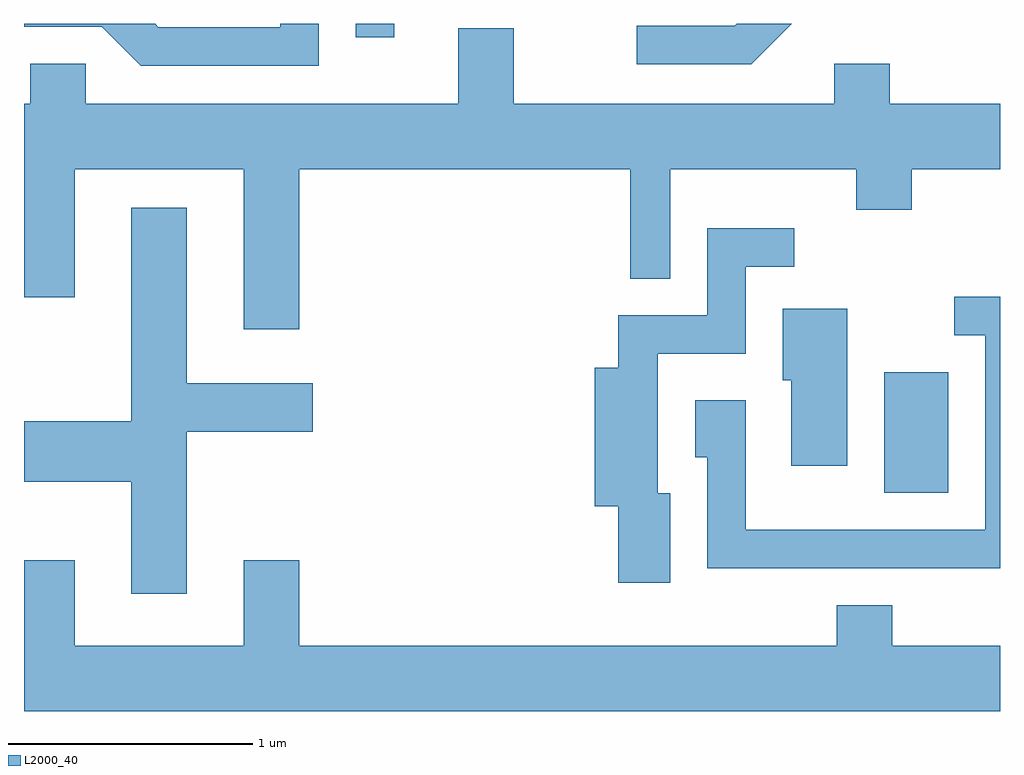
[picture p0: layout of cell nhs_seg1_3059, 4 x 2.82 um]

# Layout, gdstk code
import gdstk
lib = gdstk.Library(unit=1e-6, precision=1e-09)
def R(c, l, rs):  # rectangles x0, y0, x1, y1
    for r in rs: c.add(gdstk.rectangle(r[:2], r[2:], *l))
def P(c, l, *ps):  # polygons
    for p in ps: c.add(gdstk.Polygon(p, *l))
L2000_40 = (2000, 40)

nhs_seg1_3059 = lib.new_cell('nhs_seg1_3059')
R(nhs_seg1_3059, L2000_40, [(281.136,913.791,281.399,914.284), (278.971,915.658,279.129,915.712)])
P(nhs_seg1_3059, L2000_40, [(278.819,915.712),(278.661,915.712),(278.661,915.699),(278.162,915.699),(278.149,915.712),(277.611,915.712),(277.611,915.701),(277.929,915.701),(278.089,915.541),(278.819,915.541)],
  [(280.757,915.712),(280.532,915.712),(280.524,915.704),(280.123,915.704),(280.123,915.546),(280.592,915.546)],
  [(278.739,915.116),(280.096,915.116),(280.096,914.668),(280.259,914.668),(280.259,915.116),(281.021,915.116),(281.021,914.951),(281.249,914.951),(281.249,915.116),(281.611,915.116),(281.611,915.384),(281.159,915.384),(281.159,915.549),(280.931,915.549),(280.931,915.384),(279.619,915.384),(279.619,915.694),(279.391,915.694),(279.391,915.384),(277.864,915.384),(277.864,915.549),(277.636,915.549),(277.636,915.384),(277.611,915.384),(277.611,914.591),(277.819,914.591),(277.819,915.116),(278.511,915.116),(278.511,914.461),(278.739,914.461)],
  [(278.279,914.041),(278.794,914.041),(278.794,914.239),(278.279,914.239),(278.279,914.959),(278.051,914.959),(278.051,914.084),(277.611,914.084),(277.611,913.836),(278.051,913.836),(278.051,913.376),(278.279,913.376)],
  [(280.259,913.789),(280.209,913.789),(280.209,914.361),(280.569,914.361),(280.569,914.716),(280.768,914.716),(280.768,914.874),(280.411,914.874),(280.411,914.519),(280.046,914.519),(280.046,914.304),(279.951,914.304),(279.951,913.736),(280.046,913.736),(280.046,913.421),(280.259,913.421)],
  [(281.611,914.594),(281.423,914.594),(281.423,914.436),(281.551,914.436),(281.551,913.639),(280.569,913.639),(280.569,914.169),(280.361,914.169),(280.361,913.936),(280.411,913.936),(280.411,913.481),(281.611,913.481)],
  [(280.984,914.544),(280.721,914.544),(280.721,914.251),(280.756,914.251),(280.756,913.901),(280.984,913.901)],
  [(281.611,913.164),(281.169,913.164),(281.169,913.329),(280.941,913.329),(280.941,913.164),(278.739,913.164),(278.739,913.514),(278.511,913.514),(278.511,913.164),(277.819,913.164),(277.819,913.514),(277.611,913.514),(277.611,912.896),(281.611,912.896)])

lib.write_gds('nhs_seg1_3059.gds')
